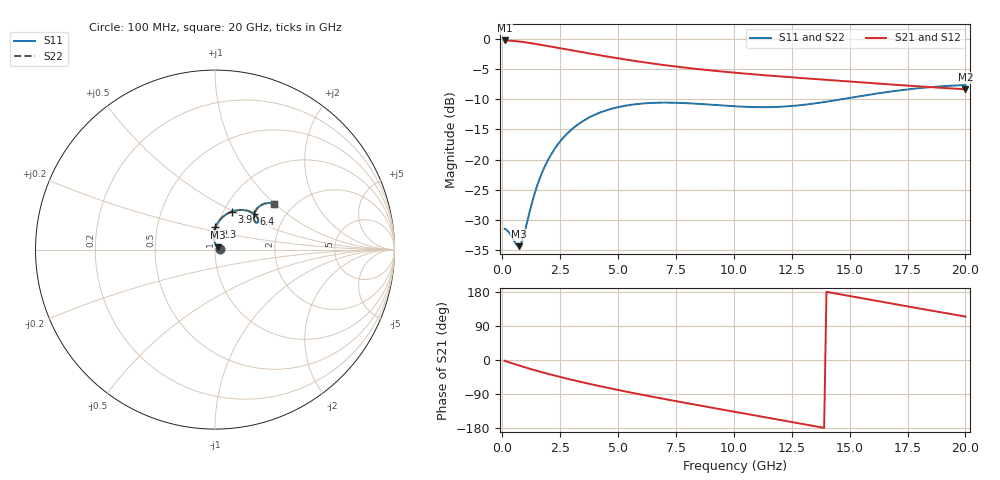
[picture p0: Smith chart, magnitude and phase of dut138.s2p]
! Created with skrf 1.9.0 (http://scikit-rf.org).
# GHz S RI R 50.0
!freq ReS11 ImS11 ReS21 ImS21 ReS12 ImS12 ReS22 ImS22
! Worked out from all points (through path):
!   200 points, 100 MHz to 20 GHz, reference 50 ohm
!   highest |S21| = -0.24 dB at 100 MHz (marker M1); lowest = -8.3 dB at 20 GHz (marker M2)
!   group delay of S21, straight-line fit = 32.4 ps
!   lowest |S11| = -34.4 dB at 700 MHz (marker M3), VSWR 1.04, Z = 51.4 + j1.31 ohm
!   |S11| at or under -10 dB: start of sweep to 14.66 GHz
!   |S22| runs from -34.4 to -7.6 dB; largest |S21 - S12| = 2.4e-15
!   S11 on the Smith chart (normalised r, x): 100 MHz: 1.05, +0.00; 2.3 GHz: 0.97, +0.25; 3.9 GHz: 1.09, +0.49; 6.4 GHz: 1.40, +0.61; 20 GHz: 1.61, +0.98
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0.1  0.0267 0.000848  0.972 -0.0346  0.972 -0.0346  0.0267 0.000848
0.7  0.0142 0.0127  0.9261 -0.2317  0.9261 -0.2317  0.0142 0.0127
0.8  0.011 0.0165  0.913 -0.2613  0.913 -0.2613  0.011 0.0165
0.9  0.00772 0.021  0.8987 -0.2898  0.8987 -0.2898  0.00772 0.021
1.3  -0.00342 0.045  0.8323 -0.3914  0.8323 -0.3914  -0.00342 0.045
1.6  -0.00747 0.0678  0.7758 -0.4551  0.7758 -0.4551  -0.00747 0.0678
1.9  -0.00654 0.0927  0.7163 -0.5089  0.7163 -0.5089  -0.00654 0.0927
2.3  0.00252 0.1257  0.6349 -0.5668  0.6349 -0.5668  0.00252 0.1257
2.8  0.0243 0.1622  0.5329 -0.6201  0.5329 -0.6201  0.0243 0.1622
3.5  0.0664 0.1987  0.3943 -0.6655  0.3943 -0.6655  0.0664 0.1987
3.9  0.0927 0.2113  0.319 -0.6787  0.319 -0.6787  0.0927 0.2113
5  0.1596 0.2203  0.1307 -0.6787  0.1307 -0.6787  0.1596 0.2203
6.4  0.2166 0.1995  -0.0658 -0.6262  -0.0658 -0.6262  0.2166 0.1995
6.8  0.2263 0.1911  -0.1135 -0.604  -0.1135 -0.604  0.2263 0.1911
8.4  0.2415 0.1613  -0.2707 -0.495  -0.2707 -0.495  0.2415 0.1613
10.1  0.232 0.1498  -0.3855 -0.3549  -0.3855 -0.3549  0.232 0.1498
11.8  0.2183 0.1638  -0.4499 -0.2003  -0.4499 -0.2003  0.2183 0.1638
13.4  0.2168 0.1933  -0.4642 -0.052  -0.4642 -0.052  0.2168 0.1933
15  0.2325 0.2261  -0.4353 0.0864  -0.4353 0.0864  0.2325 0.2261
16.7  0.2644 0.2513  -0.3649 0.2091  -0.3649 0.2091  0.2644 0.2513
18.4  0.301 0.2595  -0.2663 0.298  -0.2663 0.298  0.301 0.2595
20  0.3286 0.2532  -0.1591 0.348  -0.1591 0.348  0.3286 0.2532
